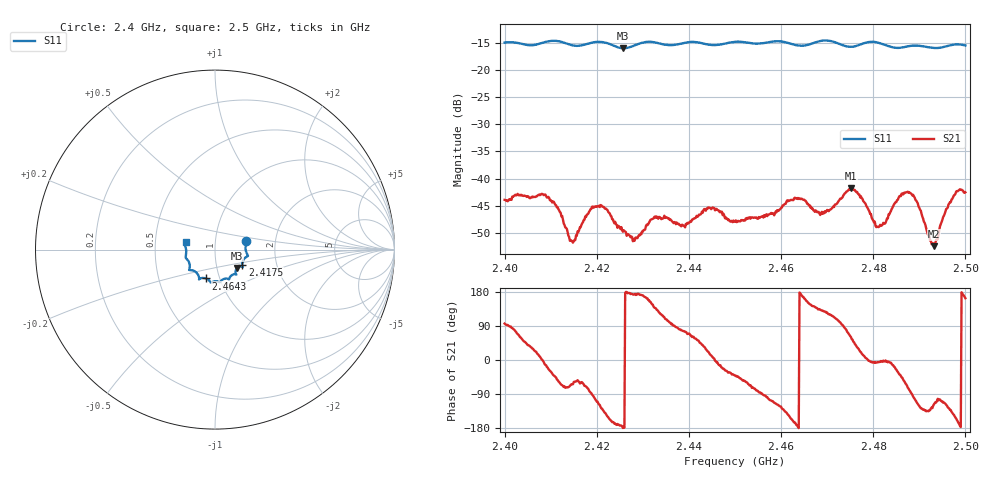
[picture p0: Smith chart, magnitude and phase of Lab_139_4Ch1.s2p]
# Hz S RI R 50
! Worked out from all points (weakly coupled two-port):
!   601 points, 2.4 GHz to 2.5 GHz, reference 50 ohm
!   highest |S21| = -41.79 dB at 2.4752 GHz (marker M1); lowest = -52.5 dB at 2.4932 GHz (marker M2)
!   lowest |S11| = -15.9 dB at 2.4257 GHz (marker M3), VSWR 1.38, Z = 62.5 - j13.1 ohm
!   |S11| at or under -10 dB: start of sweep to end of sweep
!   S12 and S22 are empty: the file has one direction only
!   S11 on the Smith chart (normalised r, x): 2.4 GHz: 1.41, +0.14; 2.4175 GHz: 1.33, -0.23; 2.4643 GHz: 0.86, -0.29; 2.5 GHz: 0.72, +0.06
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2.4e9  0.1734 0.0489  -0.000676 0.00632  0 0  0 0
2.409167e9  0.1815 -0.0297  0.00635 -0.00209  0 0  0 0
2.414667e9  0.1619 -0.0515  0.00114 -0.00236  0 0  0 0
2.416667e9  0.1527 -0.0741  0.00196 -0.00317  0 0  0 0
2.4175e9  0.1516 -0.0837  0.00164 -0.00415  0 0  0 0
2.421e9  0.1543 -0.0972  -0.00344 -0.00448  0 0  0 0
2.425667e9  0.123 -0.1018  -0.00323 -2.81e-05  0 0  0 0
2.428333e9  0.1146 -0.1265  -0.00281 0.000273  0 0  0 0
2.433333e9  0.1133 -0.1371  -0.00267 0.00331  0 0  0 0
2.438667e9  0.0808 -0.1582  0.000846 0.00362  0 0  0 0
2.444667e9  0.0586 -0.1613  0.00518 0.00125  0 0  0 0
2.45e9  0.0284 -0.1812  0.00303 -0.0026  0 0  0 0
2.464333e9  -0.0501 -0.1609  -0.00646 0.000812  0 0  0 0
2.466667e9  -0.0765 -0.1589  -0.00421 0.00316  0 0  0 0
2.470167e9  -0.0887 -0.1656  -0.0027 0.00432  0 0  0 0
2.475167e9  -0.1077 -0.1246  0.004 0.00709  0 0  0 0
2.480833e9  -0.1436 -0.1104  0.00357 -0.000413  0 0  0 0
2.483333e9  -0.1407 -0.0898  0.00467 -0.000339  0 0  0 0
2.488167e9  -0.1612 -0.0482  0.000492 -0.00726  0 0  0 0
2.493167e9  -0.1603 -0.0119  -0.00108 -0.00211  0 0  0 0
2.4975e9  -0.1699 0.0302  -0.00569 -0.00404  0 0  0 0
2.5e9  -0.1642 0.0423  -0.00713 0.00218  0 0  0 0
